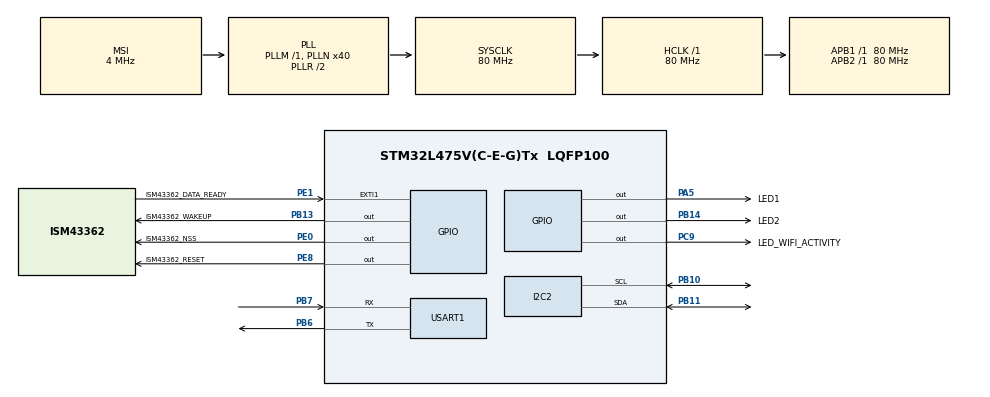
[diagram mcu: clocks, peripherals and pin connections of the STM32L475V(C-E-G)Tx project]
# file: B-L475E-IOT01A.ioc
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I2C2.Timing=0x10909CEC
Mcu.Family=STM32L4
Mcu.Name=STM32L475V(C-E-G)Tx
Mcu.Package=LQFP100
Mcu.UserConstants=HTS221_I2C,hi2c2
NVIC.EXTI1_IRQn=true\:0\:0\:false\:false\:true\:true\:true
NVIC.PriorityGroup=NVIC_PRIORITYGROUP_4
PA5.GPIO_Label=LED1
PA5.Signal=GPIO_Output
PB10.Mode=I2C
PB10.Signal=I2C2_SCL
PB11.Mode=I2C
PB11.Signal=I2C2_SDA
PB13.GPIO_Label=ISM43362_WAKEUP
PB13.Signal=GPIO_Output
PB14.GPIO_Label=LED2
PB14.Signal=GPIO_Output
PB6.Mode=Asynchronous
PB6.Signal=USART1_TX
PB7.Mode=Asynchronous
PB7.Signal=USART1_RX
PC9.GPIO_Label=LED_WIFI_ACTIVITY
PC9.Signal=GPIO_Output
PE0.GPIO_Label=ISM43362_NSS
PE0.PinState=GPIO_PIN_SET
PE0.Signal=GPIO_Output
PE1.GPIO_Label=ISM43362_DATA_READY
PE1.Signal=GPXTI1
PE8.GPIO_Label=ISM43362_RESET
PE8.PinState=GPIO_PIN_SET
PE8.Signal=GPIO_Output
ProjectManager.HeapSize=0x200
ProjectManager.StackSize=0x400
ProjectManager.TargetToolchain=EWARM V8.32
RCC.ADCFreq_Value=48000000
RCC.AHBFreq_Value=80000000
RCC.APB1Freq_Value=80000000
RCC.APB1TimFreq_Value=80000000
RCC.APB2Freq_Value=80000000
RCC.APB2TimFreq_Value=80000000
RCC.CortexFreq_Value=80000000
RCC.HCLKFreq_Value=80000000
RCC.HSE_VALUE=8000000
RCC.HSI_VALUE=16000000
RCC.LSE_VALUE=32768
RCC.MSI_VALUE=4000000
RCC.PLLN=40
RCC.PLLSAI1N=24
RCC.SYSCLKFreq_VALUE=80000000
RCC.SYSCLKSource=RCC_SYSCLKSOURCE_PLLCLK
RCC.USBFreq_Value=48000000
RCC.VCOOutputFreq_Value=160000000
STMicroelectronics.I-CUBE-STDIO.1.4.1.STDIOCcCompilerJjIOoOJjSTDOUT=USART
STMicroelectronics.X-CUBE-COMPONENTS.1.4.1.HTS221_I2C_HANDLER=HTS221_I2C
STMicroelectronics.X-CUBE-COMPONENTS.1.4.1.SensorsCcEnvironmentalJjEnvironmentalJjHTS221=I2C
USART1.VirtualMode-Asynchronous=VM_ASYNC
VP_STMicroelectronics.I-CUBE-STDIO_VS_CompilerJjSTDIO_1.0.0.Mode=CompilerJjSTDIO
VP_STMicroelectronics.X-CUBE-COMPONENTS_VS_EnvironmentalJjSensors_1.0.0_1.4.1.Mode=EnvironmentalJjSensors
board=custom

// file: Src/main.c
/* USER CODE BEGIN Header */
/**
  ******************************************************************************
  * @file           : main.c
  * @brief          : Main program body
  ******************************************************************************
  * @attention
  *
  * <h2><center>&copy; Copyright (c) 2020 STMicroelectronics.
  * All rights reserved.</center></h2>
  *
  * This software component is licensed by ST under Ultimate Liberty license
  * SLA0044, the "License"; You may not use this file except in compliance with
  * the License. You may obtain a copy of the License at:
  *                             www.st.com/SLA0044
  *
  ******************************************************************************
  */
/* USER CODE END Header */
#include "main.h"

/* USER CODE BEGIN Includes */
//#include "app.h"
#include "hts221.h"
#include <stdio.h>
/* USER CODE END Includes */

I2C_HandleTypeDef hi2c2;

UART_HandleTypeDef huart1;

/* USER CODE BEGIN PV */
HTS221_Object_t HTS221_Obj;
uint8_t HTS221_id;
/* USER CODE END PV */

void SystemClock_Config(void);
static void MX_GPIO_Init(void);
static void MX_USART1_UART_Init(void);
static void MX_I2C2_Init(void);
/* USER CODE BEGIN PFP */
int App_Init(void);
int App_Run(void);
/* USER CODE END PFP */

int main(void)
{

  /* MCU Configuration--------------------------------------------------------*/

  /* Reset of all peripherals, Initializes the Flash interface and the Systick. */
  HAL_Init();

  /* Configure the system clock */
  SystemClock_Config();

  /* Initialize all configured peripherals */
  MX_GPIO_Init();
  MX_USART1_UART_Init();
  MX_I2C2_Init();
  /* USER CODE BEGIN 2 */

  App_Init();
  /* USER CODE END 2 */

  /* Infinite loop */
  /* USER CODE BEGIN WHILE */
  while (1)
  {
    App_Run();
    /* USER CODE END WHILE */

  }
}

void SystemClock_Config(void)
{
  RCC_OscInitTypeDef RCC_OscInitStruct = {0};
  RCC_ClkInitTypeDef RCC_ClkInitStruct = {0};
  RCC_PeriphCLKInitTypeDef PeriphClkInit = {0};

  /** Initializes the RCC Oscillators according to the specified parameters
  * in the RCC_OscInitTypeDef structure.
  */
  RCC_OscInitStruct.OscillatorType = RCC_OSCILLATORTYPE_MSI;
  RCC_OscInitStruct.MSIState = RCC_MSI_ON;
  RCC_OscInitStruct.MSICalibrationValue = 0;
  RCC_OscInitStruct.MSIClockRange = RCC_MSIRANGE_6;
  RCC_OscInitStruct.PLL.PLLState = RCC_PLL_ON;
  RCC_OscInitStruct.PLL.PLLSource = RCC_PLLSOURCE_MSI;
  RCC_OscInitStruct.PLL.PLLM = 1;
  RCC_OscInitStruct.PLL.PLLN = 40;
  RCC_OscInitStruct.PLL.PLLP = RCC_PLLP_DIV7;
  RCC_OscInitStruct.PLL.PLLQ = RCC_PLLQ_DIV2;
  RCC_OscInitStruct.PLL.PLLR = RCC_PLLR_DIV2;
  if (HAL_RCC_OscConfig(&RCC_OscInitStruct) != HAL_OK)
  {
    Error_Handler();
  }
  /** Initializes the CPU, AHB and APB buses clocks
  */
  RCC_ClkInitStruct.ClockType = RCC_CLOCKTYPE_HCLK|RCC_CLOCKTYPE_SYSCLK
                              |RCC_CLOCKTYPE_PCLK1|RCC_CLOCKTYPE_PCLK2;
  RCC_ClkInitStruct.SYSCLKSource = RCC_SYSCLKSOURCE_PLLCLK;
  RCC_ClkInitStruct.AHBCLKDivider = RCC_SYSCLK_DIV1;
  RCC_ClkInitStruct.APB1CLKDivider = RCC_HCLK_DIV1;
  RCC_ClkInitStruct.APB2CLKDivider = RCC_HCLK_DIV1;

  if (HAL_RCC_ClockConfig(&RCC_ClkInitStruct, FLASH_LATENCY_4) != HAL_OK)
  {
    Error_Handler();
  }
  PeriphClkInit.PeriphClockSelection = RCC_PERIPHCLK_USART1|RCC_PERIPHCLK_I2C2;
  PeriphClkInit.Usart1ClockSelection = RCC_USART1CLKSOURCE_PCLK2;
  PeriphClkInit.I2c2ClockSelection = RCC_I2C2CLKSOURCE_PCLK1;
  if (HAL_RCCEx_PeriphCLKConfig(&PeriphClkInit) != HAL_OK)
  {
    Error_Handler();
  }
  /** Configure the main internal regulator output voltage
  */
  if (HAL_PWREx_ControlVoltageScaling(PWR_REGULATOR_VOLTAGE_SCALE1) != HAL_OK)
  {
    Error_Handler();
  }
}

static void MX_I2C2_Init(void)
{

  hi2c2.Instance = I2C2;
  hi2c2.Init.Timing = 0x10909CEC;
  hi2c2.Init.OwnAddress1 = 0;
  hi2c2.Init.AddressingMode = I2C_ADDRESSINGMODE_7BIT;
  hi2c2.Init.DualAddressMode = I2C_DUALADDRESS_DISABLE;
  hi2c2.Init.OwnAddress2 = 0;
  hi2c2.Init.OwnAddress2Masks = I2C_OA2_NOMASK;
  hi2c2.Init.GeneralCallMode = I2C_GENERALCALL_DISABLE;
  hi2c2.Init.NoStretchMode = I2C_NOSTRETCH_DISABLE;
  if (HAL_I2C_Init(&hi2c2) != HAL_OK)
  {
    Error_Handler();
  }
  /** Configure Analogue filter
  */
  if (HAL_I2CEx_ConfigAnalogFilter(&hi2c2, I2C_ANALOGFILTER_ENABLE) != HAL_OK)
  {
    Error_Handler();
  }
  /** Configure Digital filter
  */
  if (HAL_I2CEx_ConfigDigitalFilter(&hi2c2, 0) != HAL_OK)
  {
    Error_Handler();
  }

}

static void MX_USART1_UART_Init(void)
{

  huart1.Instance = USART1;
  huart1.Init.BaudRate = 115200;
  huart1.Init.WordLength = UART_WORDLENGTH_8B;
  huart1.Init.StopBits = UART_STOPBITS_1;
  huart1.Init.Parity = UART_PARITY_NONE;
  huart1.Init.Mode = UART_MODE_TX_RX;
  huart1.Init.HwFlowCtl = UART_HWCONTROL_NONE;
  huart1.Init.OverSampling = UART_OVERSAMPLING_16;
  huart1.Init.OneBitSampling = UART_ONE_BIT_SAMPLE_DISABLE;
  huart1.AdvancedInit.AdvFeatureInit = UART_ADVFEATURE_NO_INIT;
  if (HAL_UART_Init(&huart1) != HAL_OK)
  {
    Error_Handler();
  }

}

static void MX_GPIO_Init(void)
{
  GPIO_InitTypeDef GPIO_InitStruct = {0};

  /* GPIO Ports Clock Enable */
  __HAL_RCC_GPIOA_CLK_ENABLE();
  __HAL_RCC_GPIOE_CLK_ENABLE();
  __HAL_RCC_GPIOB_CLK_ENABLE();
  __HAL_RCC_GPIOC_CLK_ENABLE();

  /*Configure GPIO pin Output Level */
  HAL_GPIO_WritePin(LED1_GPIO_Port, LED1_Pin, GPIO_PIN_RESET);

  /*Configure GPIO pin Output Level */
  HAL_GPIO_WritePin(GPIOE, ISM43362_RESET_Pin|ISM43362_NSS_Pin, GPIO_PIN_SET);

  /*Configure GPIO pin Output Level */
  HAL_GPIO_WritePin(GPIOB, ISM43362_WAKEUP_Pin|LED2_Pin, GPIO_PIN_RESET);

  /*Configure GPIO pin Output Level */
  HAL_GPIO_WritePin(LED_WIFI_ACTIVITY_GPIO_Port, LED_WIFI_ACTIVITY_Pin, GPIO_PIN_RESET);

  /*Configure GPIO pin : LED1_Pin */
  GPIO_InitStruct.Pin = LED1_Pin;
  GPIO_InitStruct.Mode = GPIO_MODE_OUTPUT_PP;
  GPIO_InitStruct.Pull = GPIO_NOPULL;
  GPIO_InitStruct.Speed = GPIO_SPEED_FREQ_LOW;
  HAL_GPIO_Init(LED1_GPIO_Port, &GPIO_InitStruct);

  /*Configure GPIO pins : ISM43362_RESET_Pin ISM43362_NSS_Pin */
  GPIO_InitStruct.Pin = ISM43362_RESET_Pin|ISM43362_NSS_Pin;
  GPIO_InitStruct.Mode = GPIO_MODE_OUTPUT_PP;
  GPIO_InitStruct.Pull = GPIO_NOPULL;
  GPIO_InitStruct.Speed = GPIO_SPEED_FREQ_LOW;
  HAL_GPIO_Init(GPIOE, &GPIO_InitStruct);

  /*Configure GPIO pins : ISM43362_WAKEUP_Pin LED2_Pin */
  GPIO_InitStruct.Pin = ISM43362_WAKEUP_Pin|LED2_Pin;
  GPIO_InitStruct.Mode = GPIO_MODE_OUTPUT_PP;
  GPIO_InitStruct.Pull = GPIO_NOPULL;
  GPIO_InitStruct.Speed = GPIO_SPEED_FREQ_LOW;
  HAL_GPIO_Init(GPIOB, &GPIO_InitStruct);

  /*Configure GPIO pin : LED_WIFI_ACTIVITY_Pin */
  GPIO_InitStruct.Pin = LED_WIFI_ACTIVITY_Pin;
  GPIO_InitStruct.Mode = GPIO_MODE_OUTPUT_PP;
  GPIO_InitStruct.Pull = GPIO_NOPULL;
  GPIO_InitStruct.Speed = GPIO_SPEED_FREQ_LOW;
  HAL_GPIO_Init(LED_WIFI_ACTIVITY_GPIO_Port, &GPIO_InitStruct);

  /*Configure GPIO pin : ISM43362_DATA_READY_Pin */
  GPIO_InitStruct.Pin = ISM43362_DATA_READY_Pin;
  GPIO_InitStruct.Mode = GPIO_MODE_IT_RISING;
  GPIO_InitStruct.Pull = GPIO_NOPULL;
  HAL_GPIO_Init(ISM43362_DATA_READY_GPIO_Port, &GPIO_InitStruct);

  /* EXTI interrupt init*/
  HAL_NVIC_SetPriority(EXTI1_IRQn, 0, 0);
  HAL_NVIC_EnableIRQ(EXTI1_IRQn);

}

/* USER CODE BEGIN 4 */
/**
* @brief  Initialize the sensor
* @param  None
* @retval Init error
*/
int App_Init(void)
{
uint32_t err = 0;

  HTS221_Obj.IO.BusType      =  HTS221_I2C_BUS;
  HTS221_Obj.IO.Address      =  HTS221_I2C_ADDRESS;
  HTS221_Obj.IO.hi2c         = &HTS221_I2C_HANDLER;
  HTS221_Obj.is_initialized  = 0;
  HTS221_Obj.hum_is_enabled  = 0;
  HTS221_Obj.temp_is_enabled = 0;

  err = HTS221_ReadID     (&HTS221_Obj, &HTS221_id);
  err = HTS221_Init       (&HTS221_Obj);
  err = HTS221_TEMP_Enable(&HTS221_Obj);
  err = HTS221_HUM_Enable (&HTS221_Obj);

  if(err)
  {
    printf("Error reading from semsor\r\n");
  }

  return err;
}

/**
* @brief  Read and display sensor data
* @param  None
* @retval Run error
*/
int App_Run(void)
{
  uint32_t err = 0;
  float    fTemp;
  float    fHum;

  err = HTS221_TEMP_GetTemperature(&HTS221_Obj, &fTemp);
  err = HTS221_HUM_GetHumidity    (&HTS221_Obj, &fHum);

  if(err)
  {
    printf("Error reading from semsor\r\n");
  }
  else
  {
    printf("Temperature: %f\r\n", fTemp);
    printf("Humidity   : %f\r\n", fHum);
  }

  HAL_Delay(1000);

  return err;
}
/* USER CODE END 4 */

void Error_Handler(void)
{
}

/************************ (C) COPYRIGHT STMicroelectronics *****END OF FILE****/
